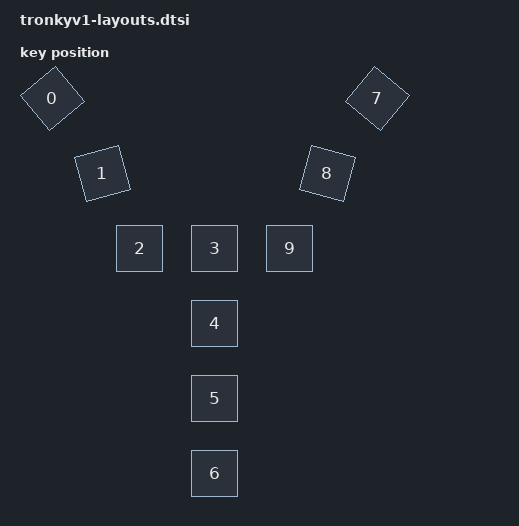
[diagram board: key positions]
#include <physical_layouts.dtsi>

/ {
    physical_layout_tronkyv1: physical_layout_tronkyv1 {
        compatible = "zmk,physical-layout";
        display-name = "tronkyv1";
        keys  //                     w   h    x    y     rot    rx    ry
            = <&key_physical_attrs 100 100    0    0   32000    50    50>
            , <&key_physical_attrs 100 100  100  150   34500   150   200>
            , <&key_physical_attrs 100 100  175  300       0   175   300>
            , <&key_physical_attrs 100 100  325  300       0   325   300>
            , <&key_physical_attrs 100 100  325  450       0   325   450>
            , <&key_physical_attrs 100 100  325  600       0   325   600>
            , <&key_physical_attrs 100 100  325  750       0   325   750>
            , <&key_physical_attrs 100 100  650    0    4000   700    50>
            , <&key_physical_attrs 100 100  550  150    1500   600   200>
            , <&key_physical_attrs 100 100  475  300       0   475   300>
            ;
    };
};
